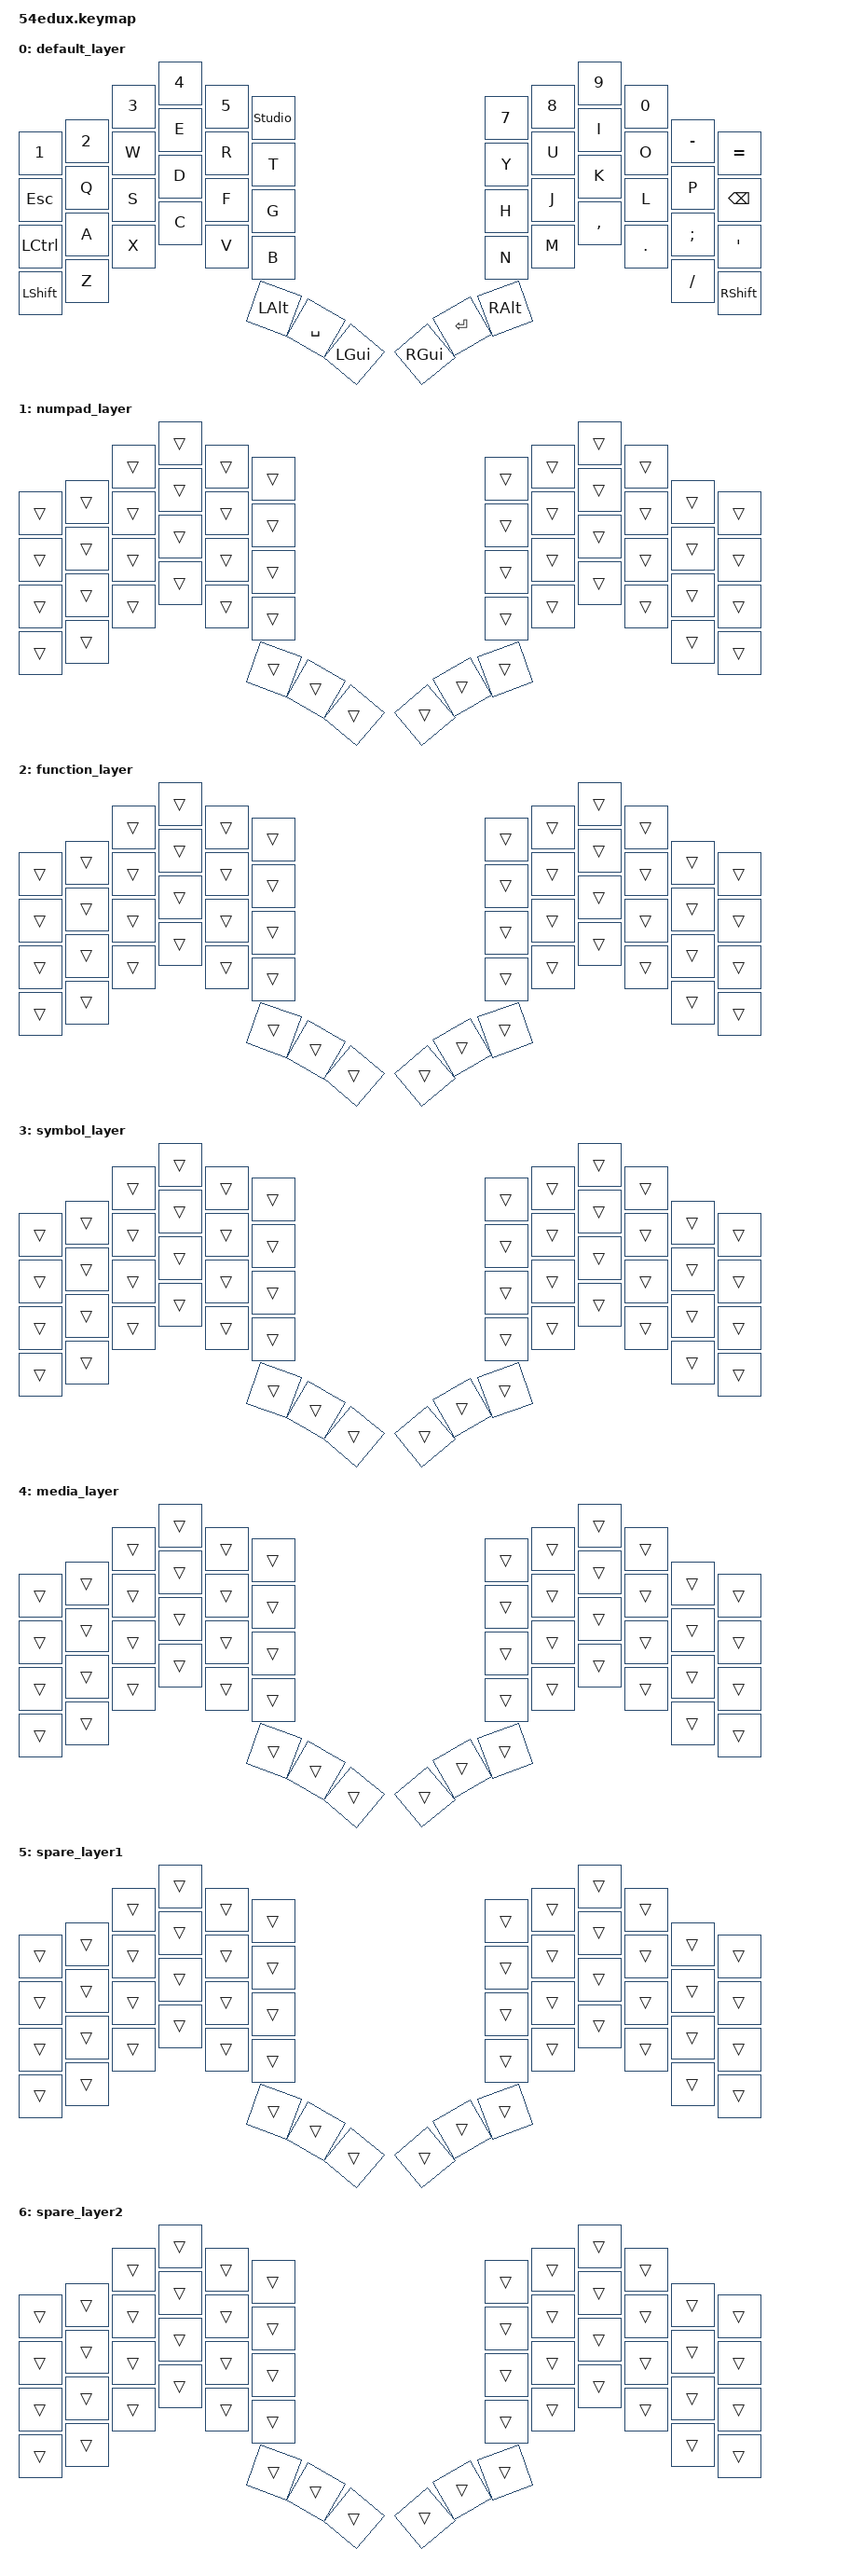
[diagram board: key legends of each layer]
#include <behaviors.dtsi>
#include <dt-bindings/zmk/keys.h>

/ {
	keymap {
		compatible = "zmk,keymap";

		default_layer {
			bindings = <
				&kp N1    &kp N2   &kp N3   &kp N4    &kp N5    &studio_unlock			&kp N7    &kp N8    &kp N9    &kp N0    &kp MINUS &kp EQUAL
				&kp ESC   &kp Q    &kp W    &kp E     &kp R     &kp T 			&kp Y     &kp U     &kp I     &kp O     &kp P     &kp BSPC
				&kp LCTRL &kp A    &kp S    &kp D     &kp F     &kp G 			&kp H     &kp J     &kp K     &kp L     &kp SEMI  &kp SQT
				&kp LSHFT &kp Z    &kp X    &kp C     &kp V     &kp B 			&kp N     &kp M     &kp COMMA	 &kp DOT   &kp FSLH  &kp RSHFT
							       			&kp LALT  &kp SPACE &kp LGUI		&kp RGUI  &kp RET  &kp RALT 
			>;
		};

		numpad_layer {
			bindings = <
				&trans    &trans   &trans   &trans    &trans    &trans			&trans    &trans    &trans    &trans    &trans &trans
				&trans   &trans    &trans    &trans     &trans     &trans 			&trans     &trans     &trans     &trans     &trans     &trans
				&trans &trans    &trans    &trans     &trans     &trans 			&trans     &trans     &trans     &trans     &trans  &trans
				&trans &trans    &trans    &trans     &trans     &trans 			&trans     &trans     &trans	 &trans   &trans  &trans
							       			&trans  &trans &trans		&trans  &trans  &trans 
			>;
		};

		function_layer {
			bindings = <
				&trans    &trans   &trans   &trans    &trans    &trans			&trans    &trans    &trans    &trans    &trans &trans
				&trans   &trans    &trans    &trans     &trans     &trans 			&trans     &trans     &trans     &trans     &trans     &trans
				&trans &trans    &trans    &trans     &trans     &trans 			&trans     &trans     &trans     &trans     &trans  &trans
				&trans &trans    &trans    &trans     &trans     &trans 			&trans     &trans     &trans	 &trans   &trans  &trans
							       			&trans  &trans &trans		&trans  &trans  &trans 
			>;
		};

		symbol_layer {
			bindings = <
				&trans    &trans   &trans   &trans    &trans    &trans			&trans    &trans    &trans    &trans    &trans &trans
				&trans   &trans    &trans    &trans     &trans     &trans 			&trans     &trans     &trans     &trans     &trans     &trans
				&trans &trans    &trans    &trans     &trans     &trans 			&trans     &trans     &trans     &trans     &trans  &trans
				&trans &trans    &trans    &trans     &trans     &trans 			&trans     &trans     &trans	 &trans   &trans  &trans
							       			&trans  &trans &trans		&trans  &trans  &trans 
			>;
		};

		media_layer {
			bindings = <
				&trans    &trans   &trans   &trans    &trans    &trans			&trans    &trans    &trans    &trans    &trans &trans
				&trans   &trans    &trans    &trans     &trans     &trans 			&trans     &trans     &trans     &trans     &trans     &trans
				&trans &trans    &trans    &trans     &trans     &trans 			&trans     &trans     &trans     &trans     &trans  &trans
				&trans &trans    &trans    &trans     &trans     &trans 			&trans     &trans     &trans	 &trans   &trans  &trans
							       			&trans  &trans &trans		&trans  &trans  &trans 
			>;
		};
		
		spare_layer1 {
			bindings = <
				&trans    &trans   &trans   &trans    &trans    &trans			&trans    &trans    &trans    &trans    &trans &trans
				&trans   &trans    &trans    &trans     &trans     &trans 			&trans     &trans     &trans     &trans     &trans     &trans
				&trans &trans    &trans    &trans     &trans     &trans 			&trans     &trans     &trans     &trans     &trans  &trans
				&trans &trans    &trans    &trans     &trans     &trans 			&trans     &trans     &trans	 &trans   &trans  &trans
							       			&trans  &trans &trans		&trans  &trans  &trans 
			>;
		};

		spare_layer2 {
			bindings = <
				&trans    &trans   &trans   &trans    &trans    &trans			&trans    &trans    &trans    &trans    &trans &trans
				&trans   &trans    &trans    &trans     &trans     &trans 			&trans     &trans     &trans     &trans     &trans     &trans
				&trans &trans    &trans    &trans     &trans     &trans 			&trans     &trans     &trans     &trans     &trans  &trans
				&trans &trans    &trans    &trans     &trans     &trans 			&trans     &trans     &trans	 &trans   &trans  &trans
							       			&trans  &trans &trans		&trans  &trans  &trans 
			>;
		};
	};
};
